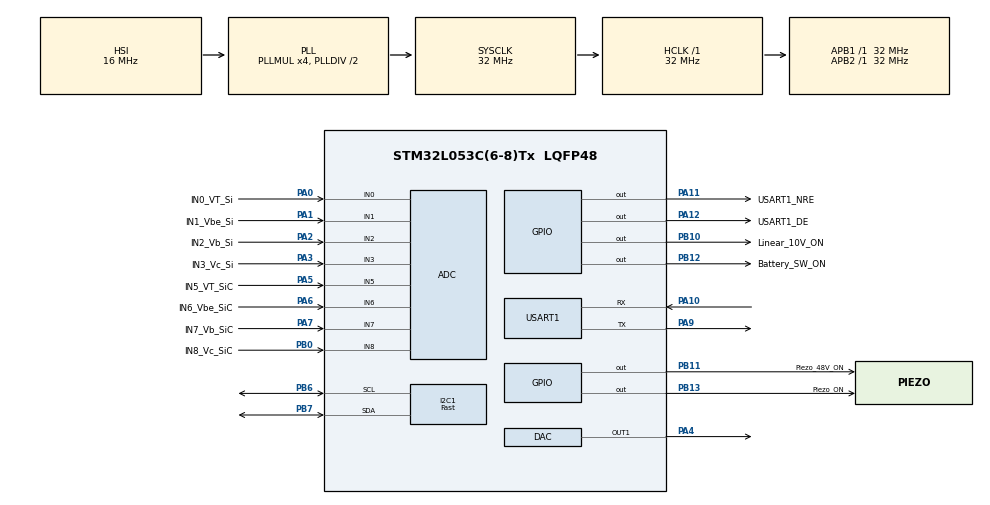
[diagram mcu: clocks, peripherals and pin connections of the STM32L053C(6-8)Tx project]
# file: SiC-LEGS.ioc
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ADC.ContinuousConvMode=ENABLE
ADC.SamplingTime=ADC_SAMPLETIME_79CYCLES_5
I2C1.I2C_Speed_Mode=I2C_Fast
I2C1.OwnAddress=0x45
I2C1.Timing=0x00300F38
Mcu.Family=STM32L0
Mcu.Name=STM32L053C(6-8)Tx
Mcu.Package=LQFP48
NVIC.I2C1_IRQn=true\:0\:0\:false\:false\:true\:true\:true\:true
PA0.GPIO_Label=IN0_VT_Si
PA0.Mode=IN0
PA0.Signal=ADC_IN0
PA1.GPIO_Label=IN1_Vbe_Si
PA1.Mode=IN1
PA1.Signal=ADC_IN1
PA10.Mode=Asynchronous
PA10.Signal=USART1_RX
PA11.GPIO_Label=USART1_NRE
PA11.Signal=GPIO_Output
PA12.GPIO_Label=USART1_DE
PA12.Signal=GPIO_Output
PA13.Mode=Serial_Wire
PA13.Signal=SYS_SWDIO
PA14.Mode=Serial_Wire
PA14.Signal=SYS_SWCLK
PA2.GPIO_Label=IN2_Vb_Si
PA2.Mode=IN2
PA2.Signal=ADC_IN2
PA3.GPIO_Label=IN3_Vc_Si
PA3.Mode=IN3
PA3.Signal=ADC_IN3
PA4.Signal=COMP_DAC1_group
PA5.GPIO_Label=IN5_VT_SiC
PA5.Mode=IN5
PA5.Signal=ADC_IN5
PA6.GPIO_Label=IN6_Vbe_SiC
PA6.Mode=IN6
PA6.Signal=ADC_IN6
PA7.GPIO_Label=IN7_Vb_SiC
PA7.Mode=IN7
PA7.Signal=ADC_IN7
PA9.Mode=Asynchronous
PA9.Signal=USART1_TX
PB0.GPIO_Label=IN8_Vc_SiC
PB0.Mode=IN8
PB0.Signal=ADC_IN8
PB10.GPIO_Label=Linear_10V_ON
PB10.Signal=GPIO_Output
PB11.GPIO_Label=Piezo_48V_ON
PB11.Signal=GPIO_Output
PB12.GPIO_Label=Battery_SW_ON
PB12.Signal=GPIO_Output
PB13.GPIO_Label=Piezo_ON
PB13.Signal=GPIO_Output
PB6.Mode=I2C
PB6.Signal=I2C1_SCL
PB7.Mode=I2C
PB7.Signal=I2C1_SDA
ProjectManager.HeapSize=0x200
ProjectManager.StackSize=0x400
ProjectManager.TargetToolchain=STM32CubeIDE
RCC.AHBFreq_Value=32000000
RCC.APB1Freq_Value=32000000
RCC.APB1TimFreq_Value=32000000
RCC.APB2Freq_Value=32000000
RCC.APB2TimFreq_Value=32000000
RCC.HCLKFreq_Value=32000000
RCC.HSE_VALUE=8000000
RCC.HSI16_VALUE=16000000
RCC.HSI48_VALUE=48000000
RCC.HSI_VALUE=16000000
RCC.I2c1ClockSelection=RCC_I2C1CLKSOURCE_SYSCLK
RCC.LSE_VALUE=32768
RCC.MSIClockRange=RCC_MSIRANGE_6
RCC.MSI_VALUE=4194000
RCC.PLLMUL=RCC_PLLMUL_4
RCC.SYSCLKFreq_VALUE=32000000
RCC.SYSCLKSource=RCC_SYSCLKSOURCE_PLLCLK
RCC.VCOOutputFreq_Value=64000000
SH.COMP_DAC1_group.0=DAC_OUT1,DAC_OUT1
USART1.DataInvertParam=ADVFEATURE_DATAINV_DISABLE
USART1.SwapParam=ADVFEATURE_SWAP_DISABLE
USART1.VirtualMode-Asynchronous=VM_ASYNC
board=custom

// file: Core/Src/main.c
/* USER CODE BEGIN Header */
/**
  ******************************************************************************
  * @file           : main.c
  * @brief          : Main program body
  ******************************************************************************
  * @attention
  *
  * <h2><center>&copy; Copyright (c) 2021 STMicroelectronics.
  * All rights reserved.</center></h2>
  *
  * This software component is licensed by ST under BSD 3-Clause license,
  * the "License"; You may not use this file except in compliance with the
  * License. You may obtain a copy of the License at:
  *                        opensource.org/licenses/BSD-3-Clause
  *
  ******************************************************************************
  */
/* USER CODE END Header */
#include "main.h"
#include "adc.h"
#include "dac.h"
#include "i2c.h"
#include "usart.h"
#include "gpio.h"

/* USER CODE BEGIN Includes */
#include <stdio.h>
#include <stdbool.h>
#include "stm32l0xx_hal_i2c.h"
#include "tools.h"
#include "start_test.h"
#include "test_driver.h"
#include "piezo.h"
#include "msp_exp.h"
#include "eeprom_circular.h"
#include "msp_exp.h"
#include "msp_exp_state.h"
#include "interface_flags.h"
#include "tools.h"
#include "experiment_constants.h"
#include "power_management.h"
#define I2C_NO_OPTION_FRAME     (0xFFFF0000U)
/* USER CODE END Includes */

/* USER CODE BEGIN PV */
uint8_t recvBuffer[9];
uint8_t sendBuffer[MSP_EXP_MAX_FRAME_SIZE];
uint8_t volatile addr = 0x45; //defines the adress when only one i2c adress is used.
bool volatile has_function_to_execute = false;
void (* volatile command_ptr)() = NULL;
extern I2C_HandleTypeDef hi2c1;
void print16bit(uint8_t , uint8_t, uint8_t );
/* USER CODE END PV */

void SystemClock_Config(void);
/* USER CODE BEGIN PFP */
void start_driver(void);
/* USER CODE END PFP */

/* USER CODE BEGIN 0 */

void SystemClock_Config(void);
void RECIVE_FINISHED(I2C_HandleTypeDef *hi2c);
uint8_t IF_DIRECTION_IS_RECIVE(I2C_HandleTypeDef *hi2c);
uint8_t IF_DIRECTION_IS_SEND(I2C_HandleTypeDef *hi2c);

extern volatile struct msp_exp_state_information msp_exp_state;
bool ready = false;

/* USER CODE END 0 */

int main(void)
{

  /* MCU Configuration--------------------------------------------------------*/

  /* Reset of all peripherals, Initializes the Flash interface and the Systick. */
  HAL_Init();

  /* Configure the system clock */
  SystemClock_Config();

  /* Initialize all configured peripherals */
  MX_GPIO_Init();
  MX_ADC_Init();
  MX_DAC_Init();
  MX_I2C1_Init();
  MX_USART1_UART_Init();
  /* USER CODE BEGIN 2 */

  // the following funtion call will initialize the eeprom by clearing it.
  reset_EEPROM_buffer();
  restore_seqflags();
  turn_off_48v();
  turn_off_5v();
  turn_off_10v();
  turn_off_vbat();

  /* USER CODE END 2 */

  /* Infinite loop */
  /* USER CODE BEGIN WHILE */
  HAL_I2C_EnableListen_IT(&hi2c1);
  while (1)
  {

	  if (has_function_to_execute) {
		  (*command_ptr)();
		  has_function_to_execute = false;
	  }

    /* USER CODE END WHILE */

    /* USER CODE BEGIN 3 */
  }
  return 0;
  /* USER CODE END 3 */
}

void SystemClock_Config(void)
{
  RCC_OscInitTypeDef RCC_OscInitStruct = {0};
  RCC_ClkInitTypeDef RCC_ClkInitStruct = {0};
  RCC_PeriphCLKInitTypeDef PeriphClkInit = {0};

  /** Configure the main internal regulator output voltage
  */
  __HAL_PWR_VOLTAGESCALING_CONFIG(PWR_REGULATOR_VOLTAGE_SCALE1);

  /** Initializes the RCC Oscillators according to the specified parameters
  * in the RCC_OscInitTypeDef structure.
  */
  RCC_OscInitStruct.OscillatorType = RCC_OSCILLATORTYPE_HSI;
  RCC_OscInitStruct.HSIState = RCC_HSI_ON;
  RCC_OscInitStruct.HSICalibrationValue = RCC_HSICALIBRATION_DEFAULT;
  RCC_OscInitStruct.PLL.PLLState = RCC_PLL_ON;
  RCC_OscInitStruct.PLL.PLLSource = RCC_PLLSOURCE_HSI;
  RCC_OscInitStruct.PLL.PLLMUL = RCC_PLLMUL_4;
  RCC_OscInitStruct.PLL.PLLDIV = RCC_PLLDIV_2;
  if (HAL_RCC_OscConfig(&RCC_OscInitStruct) != HAL_OK)
  {
    Error_Handler();
  }

  /** Initializes the CPU, AHB and APB buses clocks
  */
  RCC_ClkInitStruct.ClockType = RCC_CLOCKTYPE_HCLK|RCC_CLOCKTYPE_SYSCLK
                              |RCC_CLOCKTYPE_PCLK1|RCC_CLOCKTYPE_PCLK2;
  RCC_ClkInitStruct.SYSCLKSource = RCC_SYSCLKSOURCE_PLLCLK;
  RCC_ClkInitStruct.AHBCLKDivider = RCC_SYSCLK_DIV1;
  RCC_ClkInitStruct.APB1CLKDivider = RCC_HCLK_DIV1;
  RCC_ClkInitStruct.APB2CLKDivider = RCC_HCLK_DIV1;

  if (HAL_RCC_ClockConfig(&RCC_ClkInitStruct, FLASH_LATENCY_1) != HAL_OK)
  {
    Error_Handler();
  }
  PeriphClkInit.PeriphClockSelection = RCC_PERIPHCLK_USART1|RCC_PERIPHCLK_I2C1;
  PeriphClkInit.Usart1ClockSelection = RCC_USART1CLKSOURCE_PCLK2;
  PeriphClkInit.I2c1ClockSelection = RCC_I2C1CLKSOURCE_SYSCLK;
  if (HAL_RCCEx_PeriphCLKConfig(&PeriphClkInit) != HAL_OK)
  {
    Error_Handler();
  }
}

/* USER CODE BEGIN 4 */

/**
  * @brief  Slave Address Match callback.
  * @param  hi2c Pointer to a I2C_HandleTypeDef structure that contains
  *                the configuration information for the specified I2C.
  * @param  TransferDirection Master request Transfer Direction (Write/Read), value of @ref I2C_XFERDIRECTION
  * @param  AddrMatchCode Address Match Code
  * @retval None
  */
void HAL_I2C_AddrCallback(I2C_HandleTypeDef *hi2c, uint8_t TransferDirection, uint16_t AddrMatchCode)
{
  // Transfer direction is from master's point of view
  if (TransferDirection == I2C_DIRECTION_TRANSMIT) {
	  HAL_I2C_Slave_Seq_Receive_IT(&hi2c1, recvBuffer, (uint16_t) sizeof(recvBuffer), I2C_FIRST_AND_LAST_FRAME);

  } else if (TransferDirection == I2C_DIRECTION_RECEIVE) {
    unsigned long sendLength;
    uint8_t msp_error_code_send = msp_send_callback(sendBuffer, &sendLength, addr);
    if (msp_error_code_send != 0 || sendLength > sizeof(sendBuffer)) {
      // TODO Handle error
        return;
    }

    HAL_I2C_Slave_Seq_Transmit_IT(&hi2c1, sendBuffer, (uint16_t) sendLength, I2C_FIRST_AND_LAST_FRAME);

  } else {
    // TODO Handle invalid transfer direction
    return;
  }

}

/**
  * @brief  Slave Rx Transfer completed callback.
  * @param  hi2c Pointer to a I2C_HandleTypeDef structure that contains
  *                the configuration information for the specified I2C.
  * @retval None
  */
void HAL_I2C_SlaveRxCpltCallback(I2C_HandleTypeDef *hi2c)
{
  uint8_t msp_error_code_receive = msp_recv_callback(recvBuffer, sizeof(recvBuffer), addr);
  if (msp_error_code_receive != 0) {
    // TODO Handle error
  }
}

/**
  * @brief  Listen Complete callback.
  * @param  hi2c Pointer to a I2C_HandleTypeDef structure that contains
  *                the configuration information for the specified I2C.
  * @retval None
  */
void HAL_I2C_ListenCpltCallback(I2C_HandleTypeDef *hi2c)
{
	HAL_I2C_EnableListen_IT(hi2c);
}

/**
  * @brief  I2C error callback.
  * @param  hi2c Pointer to a I2C_HandleTypeDef structure that contains
  *                the configuration information for the specified I2C.
  * @retval None
  */
void HAL_I2C_ErrorCallback(I2C_HandleTypeDef *hi2c)
{
	HAL_I2C_EnableListen_IT(hi2c);
}

/* USER CODE END 4 */

void Error_Handler(void)
{
  __disable_irq();
  while (1)
  {
  }
}
